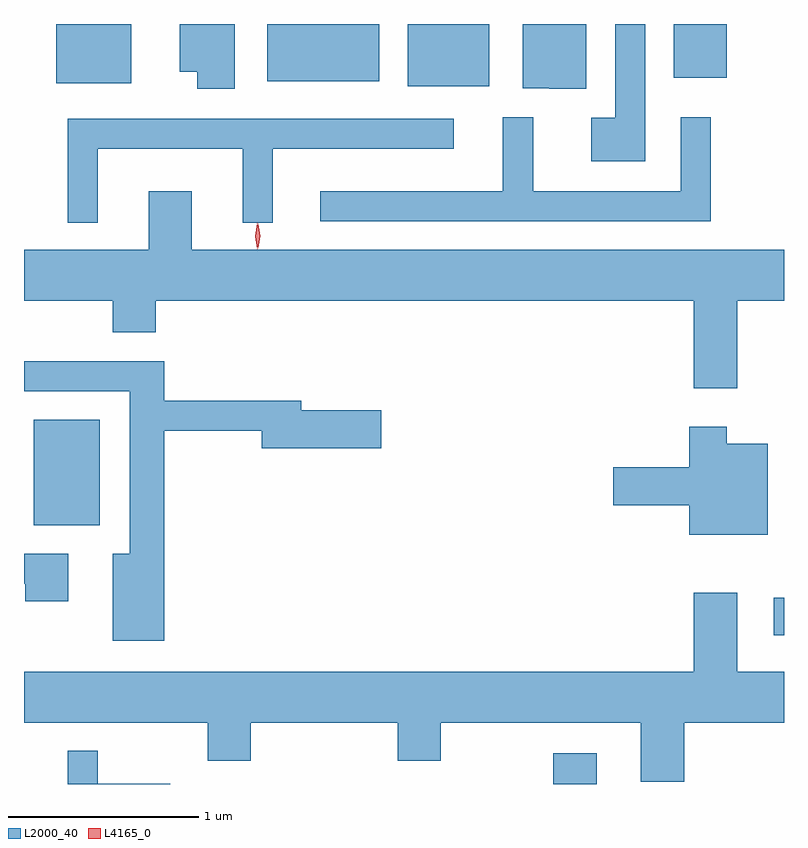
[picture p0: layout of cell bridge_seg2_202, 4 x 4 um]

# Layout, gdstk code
import gdstk
lib = gdstk.Library(unit=1e-6, precision=1e-09)
def R(c, l, rs):  # rectangles x0, y0, x1, y1
    for r in rs: c.add(gdstk.rectangle(r[:2], r[2:], *l))
def P(c, l, *ps):  # polygons
    for p in ps: c.add(gdstk.Polygon(p, *l))
L2000_40 = (2000, 40)
L4165_0 = (4165, 0)

bridge_seg2_202 = lib.new_cell('bridge_seg2_202')
R(bridge_seg2_202, L2000_40, [(962.351,983.613,962.579,983.774), (963.511,984.396,963.565,984.594), (959.616,984.976,959.964,985.529), (961.586,987.286,962.014,987.613), (959.736,987.301,960.129,987.613), (960.846,987.311,961.434,987.613), (962.986,987.331,963.264,987.613)])
P(bridge_seg2_202, L2000_40, [(962.834,987.613),(962.676,987.613),(962.676,987.119),(962.551,987.119),(962.551,986.891),(962.834,986.891)],
  [(960.674,987.613),(960.386,987.613),(960.386,987.361),(960.476,987.361),(960.476,987.271),(960.674,987.271)],
  [(962.524,987.613),(962.191,987.613),(962.191,987.276),(962.33,987.276),(962.33,987.271),(962.524,987.271)],
  [(963.179,987.123),(963.021,987.123),(963.021,986.734),(962.244,986.734),(962.244,987.123),(962.086,987.123),(962.086,986.734),(961.123,986.734),(961.123,986.576),(963.179,986.576)],
  [(959.954,986.956),(960.716,986.956),(960.716,986.568),(960.874,986.568),(960.874,986.956),(961.828,986.956),(961.828,987.114),(959.796,987.114),(959.796,986.568),(959.954,986.568)],
  [(960.221,986.734),(960.221,986.424),(959.565,986.424),(959.565,986.156),(960.031,986.156),(960.031,985.991),(960.259,985.991),(960.259,986.156),(963.091,986.156),(963.091,985.696),(963.319,985.696),(963.319,986.156),(963.565,986.156),(963.565,986.424),(960.449,986.424),(960.449,986.734)],
  [(960.304,985.471),(960.816,985.471),(960.816,985.381),(961.444,985.381),(961.444,985.579),(961.024,985.579),(961.024,985.629),(960.304,985.629),(960.304,985.839),(959.565,985.839),(959.565,985.681),(960.121,985.681),(960.121,984.824),(960.031,984.824),(960.031,984.366),(960.304,984.366)],
  [(963.479,985.404),(963.264,985.404),(963.264,985.494),(963.066,985.494),(963.066,985.279),(962.666,985.279),(962.666,985.081),(963.066,985.081),(963.066,984.926),(963.479,984.926)],
  [(959.799,984.824),(959.565,984.824),(959.565,984.666),(959.571,984.666),(959.571,984.576),(959.799,984.576)],
  [(963.039,983.936),(963.565,983.936),(963.565,984.204),(963.319,984.204),(963.319,984.619),(963.091,984.619),(963.091,984.204),(959.565,984.204),(959.565,983.936),(960.531,983.936),(960.531,983.736),(960.759,983.736),(960.759,983.936),(961.531,983.936),(961.531,983.736),(961.759,983.736),(961.759,983.936),(962.811,983.936),(962.811,983.626),(963.039,983.626)],
  [(960.334,983.614),(959.954,983.614),(959.954,983.788),(959.796,983.788),(959.796,983.613),(960.334,983.613)])
P(bridge_seg2_202, L4165_0, [(960.792,986.428),(960.792,986.429),(960.782,986.497),(960.792,986.565),(960.792,986.566),(960.793,986.565),(960.802,986.497),(960.793,986.429)],
  [(960.797,986.433),(960.788,986.498),(960.797,986.562),(960.798,986.562),(960.798,986.562),(960.808,986.498),(960.798,986.433),(960.798,986.433)])

lib.write_gds('bridge_seg2_202.gds')
